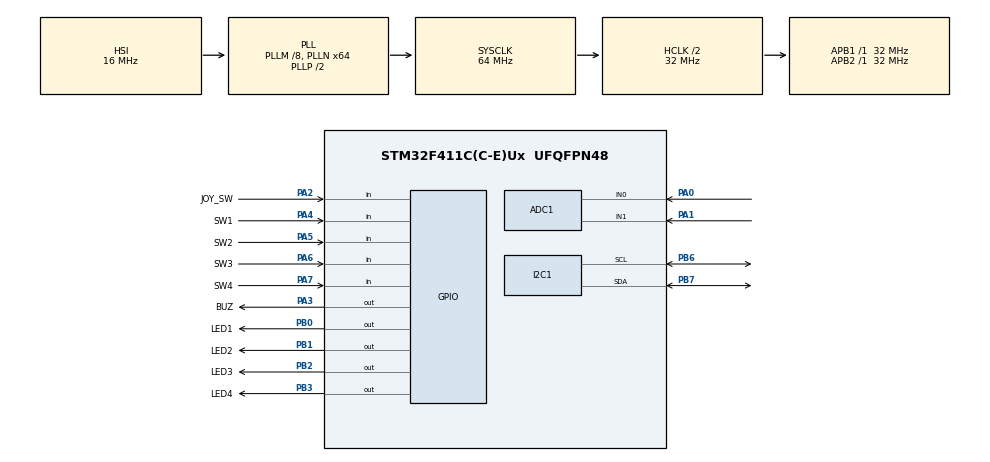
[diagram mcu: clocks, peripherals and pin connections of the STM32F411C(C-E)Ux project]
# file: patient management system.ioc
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ADC1.Channel-0\#ChannelRegularConversion=ADC_CHANNEL_0
ADC1.Channel-1\#ChannelRegularConversion=ADC_CHANNEL_1
ADC1.ContinuousConvMode=DISABLE
ADC1.DMAContinuousRequests=DISABLE
ADC1.DiscontinuousConvMode=ENABLE
ADC1.NbrOfConversion=2
ADC1.NbrOfConversionFlag=1
ADC1.Rank-0\#ChannelRegularConversion=1
ADC1.Rank-1\#ChannelRegularConversion=2
ADC1.SamplingTime-0\#ChannelRegularConversion=ADC_SAMPLETIME_56CYCLES
ADC1.SamplingTime-1\#ChannelRegularConversion=ADC_SAMPLETIME_56CYCLES
ADC1.ScanConvMode=ENABLE
ADC1.master=1
Dma.ADC1.0.Direction=DMA_PERIPH_TO_MEMORY
Dma.ADC1.0.FIFOMode=DMA_FIFOMODE_DISABLE
Dma.ADC1.0.Instance=DMA2_Stream0
Dma.ADC1.0.MemDataAlignment=DMA_MDATAALIGN_HALFWORD
Dma.ADC1.0.MemInc=DMA_MINC_ENABLE
Dma.ADC1.0.Mode=DMA_CIRCULAR
Dma.ADC1.0.PeriphDataAlignment=DMA_PDATAALIGN_HALFWORD
Dma.ADC1.0.PeriphInc=DMA_PINC_DISABLE
Dma.ADC1.0.Priority=DMA_PRIORITY_LOW
Dma.Request0=ADC1
I2C1.DutyCycle=I2C_DUTYCYCLE_16_9
I2C1.I2C_Mode=I2C_Fast
Mcu.Family=STM32F4
Mcu.Name=STM32F411C(C-E)Ux
Mcu.Package=UFQFPN48
NVIC.DMA2_Stream0_IRQn=true\:0\:0\:false\:false\:true\:false\:true\:true
NVIC.PriorityGroup=NVIC_PRIORITYGROUP_4
PA0-WKUP.Signal=ADCx_IN0
PA1.Signal=ADCx_IN1
PA13.Mode=Serial_Wire
PA13.Signal=SYS_JTMS-SWDIO
PA14.Mode=Serial_Wire
PA14.Signal=SYS_JTCK-SWCLK
PA2.GPIO_Label=JOY_SW
PA2.GPIO_PuPd=GPIO_PULLUP
PA2.Signal=GPIO_Input
PA3.GPIO_Label=BUZ
PA3.Signal=GPIO_Output
PA4.GPIO_Label=SW1
PA4.GPIO_PuPd=GPIO_NOPULL
PA4.Signal=GPIO_Input
PA5.GPIO_Label=SW2
PA5.GPIO_PuPd=GPIO_NOPULL
PA5.Signal=GPIO_Input
PA6.GPIO_Label=SW3
PA6.GPIO_PuPd=GPIO_NOPULL
PA6.Signal=GPIO_Input
PA7.GPIO_Label=SW4
PA7.GPIO_PuPd=GPIO_NOPULL
PA7.Signal=GPIO_Input
PB0.GPIO_Label=LED1
PB0.Signal=GPIO_Output
PB1.GPIO_Label=LED2
PB1.Signal=GPIO_Output
PB2.GPIO_Label=LED3
PB2.Signal=GPIO_Output
PB3.GPIO_Label=LED4
PB3.Signal=GPIO_Output
PB6.Mode=I2C
PB6.Signal=I2C1_SCL
PB7.Mode=I2C
PB7.Signal=I2C1_SDA
ProjectManager.HeapSize=0x200
ProjectManager.StackSize=0x400
ProjectManager.TargetToolchain=STM32CubeIDE
RCC.48MHZClocksFreq_Value=32000000
RCC.AHBCLKDivider=RCC_SYSCLK_DIV2
RCC.AHBFreq_Value=32000000
RCC.APB1Freq_Value=32000000
RCC.APB1TimFreq_Value=32000000
RCC.APB2Freq_Value=32000000
RCC.APB2TimFreq_Value=32000000
RCC.CortexFreq_Value=32000000
RCC.HCLKFreq_Value=32000000
RCC.HSE_VALUE=25000000
RCC.HSI_VALUE=16000000
RCC.LSE_VALUE=32768
RCC.PLLM=8
RCC.PLLN=64
RCC.SYSCLKFreq_VALUE=64000000
RCC.SYSCLKSource=RCC_SYSCLKSOURCE_PLLCLK
RCC.VCOOutputFreq_Value=128000000
SH.ADCx_IN0.0=ADC1_IN0,IN0
SH.ADCx_IN1.0=ADC1_IN1,IN1
board=custom

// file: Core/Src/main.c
/* USER CODE BEGIN Header */
/**
  ******************************************************************************
  * @file           : main.c
  * @brief          : Main program body
  ******************************************************************************
  * @attention
  *
  * Copyright (c) 2023 STMicroelectronics.
  * All rights reserved.
  *
  * This software is licensed under terms that can be found in the LICENSE file
  * in the root directory of this software component.
  * If no LICENSE file comes with this software, it is provided AS-IS.
  *
  ******************************************************************************
  */
/* USER CODE END Header */
#include "main.h"

/* USER CODE BEGIN Includes */
#include <stdio.h>

#include "main.h"

#include "ssd1306.h"
#include "fonts.h"

#include "DS3231.h"
/* USER CODE END Includes */

/* USER CODE BEGIN PD */
#define ADC_JOY_X (adc_value[1])
#define ADC_JOY_Y (adc_value[0])

#define JOY_R (ADC_JOY_X > 4000)
#define JOY_L (ADC_JOY_X < 300)
#define JOY_U (ADC_JOY_Y > 4000)
#define JOY_D (ADC_JOY_Y < 300)
#define JOY_P (!HAL_GPIO_ReadPin(JOY_SW_GPIO_Port, JOY_SW_Pin))
#define LED_101(n) (HAL_GPIO_WritePin(LED1_GPIO_Port, LED1_Pin, n))
#define LED_102(n) (HAL_GPIO_WritePin(LED2_GPIO_Port, LED2_Pin, n))
#define LED_103(n) (HAL_GPIO_WritePin(LED3_GPIO_Port, LED3_Pin, n))
#define LED_104(n) (HAL_GPIO_WritePin(LED4_GPIO_Port, LED4_Pin, n))
#define BUZ(x) (HAL_GPIO_WritePin(BUZ_GPIO_Port, BUZ_Pin, x))
/* USER CODE END PD */

ADC_HandleTypeDef hadc1;
DMA_HandleTypeDef hdma_adc1;

I2C_HandleTypeDef hi2c1;

/* USER CODE BEGIN PV */
uint16_t adc_value[2], cnt=0,joy, joy_delay1, joy_delay2;
uint8_t joystick,sys=0,init_block=0, use=1, room_sel=0, dis_sel=0, joy_old=0;

uint8_t time_C=0, Cursor=2 ,Cursor_H=2, Cursor_P=0, Cursor_R=0;

uint8_t md_max[4]={50,30,25,20}, md_now[4]={4,1,5,3};

char bf[30];
char *TIME[6]={"YEAR","MONTH","DAY","HOUR","MIN","SEC"};
char *PS[4]={"(Pain killer)","(Anti-inflam)","(IV)","(Fever remedy)"};
char *DISEASE[5]={"[unknown]", "[cold]","[flu]","[enteritis]","[high fever]"};
const char keyboard[4][12] = {
    "1234567890&",
    "QWERTYUOIP ",
    "ASDFGHJKL;*",
    "ZXCVBNM,.  "
};
char keyboard_mem[11];
char LASTDAY[13]={0,31,28,31,30,31,30,31,31,30,31,30,31};
uint8_t set_time[6]={0,1,1,0,0,0}, LED_status[4]={0};
enum date{
	year=0,month,day,hour,min,sec
};
enum joystick_enum{
	nomal=0,up,down,left,right
};
enum system_enum{
	init=0,time_set,main_menu,hospit,discharge,mm,pm,log,emergency_call
};
typedef struct
{
   char name[11];
   uint8_t Disease,Presc, store, use,time101,time102,time103,time104;
} Part;
Part pati_save[7];

/* USER CODE END PV */

void SystemClock_Config(void);
static void MX_GPIO_Init(void);
static void MX_DMA_Init(void);
static void MX_I2C1_Init(void);
static void MX_ADC1_Init(void);

/* USER CODE BEGIN 0 */
void HAL_IncTick(){
	uwTick += uwTickFreq;
	cnt++;
	if(sys==init && init_block < 11 && cnt % 200 == 0) init_block++;
	if(sys != time_set && sys != init && cnt % 1000 == 0){
	        set_time[5]++;
	        if(set_time[5]>59){
	        	set_time[5]=0;
	        	set_time[4]++;
	        	if(set_time[4]>59){
	        		set_time[4]=0;
	        		set_time[3]++;
	        		if(set_time[3]>23){
	        			set_time[3]=0;
	        			set_time[2]++;
	        		}
	        	}
	        }
	}

	if(cnt > 30000) joy_delay1 = joy_delay2 = cnt = 0;

	if(uwTick % 5 == 0){
		HAL_ADC_Start(&hadc1);
		HAL_ADC_PollForConversion(&hadc1, 10);
		adc_value[0] = HAL_ADC_GetValue(&hadc1);
		HAL_ADC_Start(&hadc1);
		HAL_ADC_PollForConversion(&hadc1, 10);
		adc_value[1] = HAL_ADC_GetValue(&hadc1);
		if(JOY_U)
			joystick = up;
		else if(JOY_D)
			joystick = down;
		else if(JOY_R)
			joystick = right;
		else if(JOY_L)
			joystick = left;
		else
			joystick = nomal;
	}

}
uint8_t joystick_sw(){//조이?��?�� ?���?????? ?��?��
   if(!HAL_GPIO_ReadPin(GPIOA, GPIO_PIN_2)){
      while(!HAL_GPIO_ReadPin(GPIOA, GPIO_PIN_2)) HAL_Delay(50);
      return 1;
   }
   return 0;
}

void PutsXY(int x, int y, char* str, int color){
   SSD1306_GotoXY(x*6, y*8);
   SSD1306_Puts(str, &Font_6x8, color);
}
void ud_joystick(uint8_t *sel, uint16_t max, uint8_t rotate, uint8_t min, uint8_t sort){
   if(joystick){
	if(joy_old==RESET){
        if(sort){
           if(*sel < max+min && joystick == up)
              *sel += 1;
           else if(*sel > min && joystick == down)
              *sel -= 1;
           else if(*sel == max+min && joystick == up && rotate)
              *sel = min;
           else if(*sel == 0 && joystick == down && rotate)
              *sel = max;
        }
        else{
           if(*sel > min && joystick == up)
              *sel -= 1;
           else if(*sel < max+min && joystick == down)
              *sel += 1;
           else if(*sel == 0 && joystick == up && rotate)
              *sel = max;
           else if(*sel == max+min && joystick == down && rotate)
              *sel = min;
        }
        joy_delay1 = cnt;
	}
	else if(cnt - joy_delay1 > 200){
         if(sort){
            if(*sel < max+min && joystick == up)
               *sel += 1;
            else if(*sel > min && joystick == down)
               *sel -= 1;
            else if(*sel == max+min && joystick == up && rotate)
               *sel = min;
            else if(*sel == 0 && joystick == down && rotate)
               *sel = max;
         }
         else{
            if(*sel > min && joystick == up)
               *sel -= 1;
            else if(*sel < max+min && joystick == down)
               *sel += 1;
            else if(*sel == 0 && joystick == up && rotate)
               *sel = max;
            else if(*sel == max+min && joystick == down && rotate)
               *sel = min;
         }
         joy_delay1 = cnt;
      }
   }
   joy_old = joystick;
}

void rl_joystick(uint8_t *les, uint8_t max, uint8_t rotate, uint8_t min, uint8_t sort){
	if(joystick){
		if(joy_old==RESET){
			if(sort){
				if(*les < max+min && joystick == right)
				*les += 1;
				else if(*les > min && joystick == left)
				*les -= 1;
				else if(*les == max+min && joystick == right && rotate)
				*les = min;
				else if(*les == 0 && joystick == left && rotate)
				*les = max;
			}
			else{
				if(*les > min && joystick == right)
				*les -= 1;
				else if(*les < max+min && joystick == left)
				*les += 1;
				else if(*les == 0 && joystick == right && rotate)
				*les = max;
				else if(*les == max+min && joystick == left && rotate)
				*les = min;
			}
			joy_delay2 = cnt;
		}
		else if(cnt - joy_delay2 > 200){
			if(sort){
				if(*les < max+min && joystick == right)
				*les += 1;
				else if(*les > min && joystick == left)
				*les -= 1;
				else if(*les == max+min && joystick == right && rotate)
				*les = min;
				else if(*les == 0 && joystick == left && rotate)
				*les = max;
			}
			else{
				if(*les > min && joystick == right)
				*les -= 1;
				else if(*les < max+min && joystick == left)
				*les += 1;
				else if(*les == 0 && joystick == right && rotate)
				*les = max;
				else if(*les == max+min && joystick == left && rotate)
				*les = min;
			}
			joy_delay2 = cnt;
		}
	}
	joy_old = joystick;
}
void pati_save_(){
	strcat(pati_save[room_sel].name, keyboard_mem);
	pati_save[room_sel].Disease = dis_sel;
	pati_save[room_sel].Presc = Cursor_P;
	pati_save[room_sel].store = md_now[Cursor_P];
	pati_save[room_sel].use = use;
	if(room_sel==1){
		for(int i=0; i<6; i++){
			pati_save[i].time101 = set_time[i];
		}
	}
	if(room_sel==2){
		for(int i=0; i<6; i++){
			pati_save[i].time104 = set_time[i];
		}
	}
	if(room_sel==3){
		for(int i=0; i<6; i++){
			pati_save[i].time104 = set_time[i];
		}
	}
	if(room_sel==4){
		for(int i=0; i<6; i++){
			pati_save[i].time104 = set_time[i];
		}
	}

}
void KEYBOARD(){
	for(int j = 0; j < 12; j++){
		keyboard_mem[j]=0;
	}
	while(1){
		static uint8_t updown_sel = 0, line_sel, count = 0;
		SSD1306_Fill(0);
		PutsXY(0, 0, "#KEYBOARD                ", 0);
		PutsXY(0, 1, ">", 1);
		PutsXY(1+count, 2, "^", 1);
	    PutsXY(1, 1, keyboard_mem, 1);
	    for(int i = 0; i < 4; i++){
	       for(int j = 0; j < 11; j++){
	          sprintf(bf, "%c", keyboard[i][j]);
	          SSD1306_GotoXY((j+2) * 6 + (j*4), (i+4) * 8);
	          if(i == updown_sel && j == line_sel)
	             SSD1306_Puts(bf, &Font_6x8, 0);
	          else
	             SSD1306_Puts(bf, &Font_6x8, 1);
	       }
	    }
	    SSD1306_UpdateScreen();

	    ud_joystick(&updown_sel, 3, 1, 0, 0);
	    if(updown_sel % 2 == 0)
	            rl_joystick(&line_sel, 10, 1, 0, 0);//0,2번째 �??? 10칸까�???
	         else
	            rl_joystick(&line_sel, 9, 1, 0, 0);//1,3번�?? �??? 9칸까�??? 커서

	    if(joystick_sw()){
	         if(line_sel == 10){
	            if(updown_sel == 0){
	               if(count > 0){
	                  count--;
	                  keyboard_mem[count] = 0;
	               }
	            }
	            else if(updown_sel == 2){
	               updown_sel = 0;
	               line_sel = 0;
	               count = 0;
	               return;
	            }
	         }
	         else {
	            if(count < 10){
	               keyboard_mem[count] = keyboard[updown_sel][line_sel];
	               count++;
	            }
	         }
	      }
	      if(count >= 10){
	         updown_sel = 0;
	         line_sel = 0;
	         count = 0;
	         return;
	      }
	}
}

void Init(){
	SSD1306_Fill(0);
	PutsXY(2, 3,"Patient Management", 1);
	PutsXY(8, 4,"system", 1);
	SSD1306_GotoXY(2*6, 2*8+init_block-3);
	SSD1306_Puts("                  ", &Font_6x8, 1);
	SSD1306_GotoXY(2*6, 5*8-init_block+2);
	SSD1306_Puts("                  ", &Font_6x8, 1);
	SSD1306_UpdateScreen();
	if(init_block==11){
		HAL_Delay(300);
		PutsXY(8, 3,"Welcome", 1);
		SSD1306_UpdateScreen();
		HAL_Delay(2000);
		//////////////////////////////////////////eeprom set(first run)//////////////////////////////////////////
		sys=time_set;
	}
}
void Time_set(){
	SSD1306_Fill(0);
	PutsXY(0, 0, "#TIME SETTING             ", 0);
	PutsXY(0, 3, "RTC Time Setting", 1);
	sprintf(bf, "%s=%d",TIME[time_C],time_C==0 ? set_time[time_C] + 2000 : set_time[time_C]);
	SSD1306_GotoXY(0, 5*8);
	SSD1306_Puts(bf, &Font_6x8, 1);
	if(joystick_sw()){
		DS3231_set_date(set_time[2], set_time[1], set_time[0]);
		DS3231_set_time(set_time[5], set_time[4], set_time[3]);
		DS3231_get_time(&set_time[5], &set_time[4], &set_time[3]);
		DS3231_get_date(&set_time[2], &set_time[1], &set_time[0]);
		for(int i=0; i<6; i++) set_time[i]=set_time[i];
		sys = main_menu;
	}
	rl_joystick(&time_C, 5, 0, 0, 0);

	if(time_C==year)
		ud_joystick(&set_time[time_C], 99, 0, 0, 1);
	if(time_C==month)
		ud_joystick(&set_time[time_C], 11, 0, 1, 1);
	if(time_C==day){
		if(set_time[time_C]>LASTDAY[set_time[month]]) set_time[time_C]=LASTDAY[set_time[month]]; //if value over -> max value
		ud_joystick(&set_time[time_C], LASTDAY[set_time[month]]-1, 0, 1, 1);
	}
	if(time_C==hour)
		ud_joystick(&set_time[time_C], 23, 0, 0, 1);
	if(time_C==min)
		ud_joystick(&set_time[time_C], 23, 0, 0, 1);
	if(time_C==sec)
		ud_joystick(&set_time[time_C], 59, 0, 0, 1);

	SSD1306_UpdateScreen();
}
void Main_menu(){
	SSD1306_Fill(0);
	PutsXY(0, 0, "#main menu            ", 0);
	PutsXY(1, 2, "pati Hospit", 1);
	PutsXY(1, 3, "Discharge", 1);
	PutsXY(1, 4, "MM", 1);
	PutsXY(1, 5, "PM", 1);
	PutsXY(1, 6, "Log", 1);
	sprintf(bf, "20%02d.%02d.%02d", set_time[0], set_time[1], set_time[2]);
	PutsXY(11, 4, bf, 1);
	sprintf(bf, "%02d:%02d:%02d", set_time[3], set_time[4], set_time[5]);
	PutsXY(13, 5, bf, 1);
	ud_joystick(&Cursor, 4, 0, 2, 0);
	PutsXY(0, Cursor, ">", 1);
	SSD1306_UpdateScreen();
	if(joystick_sw()){
		sys = Cursor+1; //////emergency call 만들 ?�� 조건 걸어줘야 ?�� ///////////////////
	}

}
void Hospit(){
	SSD1306_Fill(0);
	PutsXY(0, 0, "#Patient Hospit             ", 0);
	PutsXY(1, 2, "Disease:", 1);
	if(keyboard_mem[0] == 0)
		PutsXY(1, 3, "Name:(NONE)", 1);
	else{
		PutsXY(1, 3, "Name:", 1);
		PutsXY(6, 3, keyboard_mem, 1);
	}
	PutsXY(1, 4, "Presc:", 1);
	PutsXY(1, 5, "Store:", 1);
	PutsXY(1, 6, "Hospit room:", 1);
	PutsXY(1, 7, "Enter", 1);
	SSD1306_GotoXY(7*6, 4*8);
	SSD1306_Puts(PS[Cursor_P], &Font_6x8, 1);
	SSD1306_GotoXY(7*6, 5*8);
	sprintf(bf ,"(%d/%d)",md_now[Cursor_P],md_max[Cursor_P]);
	SSD1306_Puts(bf, &Font_6x8, 1);
	sprintf(bf,"USE:%d",use);
	SSD1306_GotoXY(14*6, 5*8);
	SSD1306_Puts(bf, &Font_6x8, 1);
	ud_joystick(&Cursor_H, 5, 0, 2, 0);
	PutsXY(0, Cursor_H, ">", 1);
	PutsXY(9, 2, DISEASE[dis_sel], 1);
	sprintf(bf,"<10%d>",room_sel);
	SSD1306_GotoXY(13*6, 6*8);
	SSD1306_Puts(bf, &Font_6x8, 1);
	if(room_sel==0){
		PutsXY(13, 6, "<non>", 1);
	}else{
		sprintf(bf,"<10%d>",room_sel);
		SSD1306_GotoXY(13*6, 6*8);
		SSD1306_Puts(bf, &Font_6x8, 1);
	}
	if(Cursor_H == 2){
		rl_joystick(&dis_sel, 4, 0, 0, 0);
	}else if(Cursor_H == 4){
		rl_joystick(&Cursor_P, 3, 0, 0, 0);
		if(md_now[Cursor_P]<use) use=md_now[Cursor_P];
	}else if(Cursor_H == 5){
		rl_joystick(&use, md_now[Cursor_P]-1, 0, 1, 0);
	}else if(Cursor_H == 6){
		rl_joystick(&room_sel, 4, 0, 0, 0);
	}
	SSD1306_UpdateScreen();
	if(room_sel==0)
		LED_101(0);
	if(room_sel==1){
		LED_101(1);
		LED_102(0);
	}
	if(room_sel==2){
		LED_102(1);
		LED_101(0);
		LED_103(0);
	}
	if(room_sel==3){
		LED_103(1);
		LED_102(0);
		LED_104(0);
	}
	if(room_sel==4){
		LED_104(1);
		LED_103(0);
	}
	for(int i=1; i<5; i++){
		if(LED_status[i]==1){
			if(i==1)
				LED_101(1);
			if(i==2)
				LED_102(1);
			if(i==3)
				LED_103(1);
			if(i==4)
				LED_104(1);
		}
	}

	if(joystick_sw()){
		if(Cursor_H==3) KEYBOARD();
		else if(Cursor_H==7){
			if(room_sel==0){
				//log
			}else if(room_sel==1){
				pati_save_();
			}else if(room_sel==2){
				pati_save_();
			}else if(room_sel==3){
				pati_save_();
			}else if(room_sel==4){
				pati_save_();
			}
			//variable reset//
			Cursor_H=2;
			LED_status[room_sel]=1;
			Cursor_P=use=dis_sel=room_sel=0;
			sys = main_menu;
		}
	}
}

void Discharge(){
	SSD1306_Fill(0);
	PutsXY(0, 0, "#Discharge              ", 0);
	PutsXY(0, 2, "Hospit room:10", 1);

	ud_joystick(&Cursor_H, 5, 0, 2, 0);
	PutsXY(0, Cursor_H, ">", 1);
	if(Cursor_H==2)
		rl_joystick(&room_sel, 4, 0, 1, 0);

	SSD1306_UpdateScreen();
}
void Medicine_manage(){
	SSD1306_Fill(0);
	PutsXY(0, 0, "#Medicine manage          ", 0);
	PutsXY(0, 2, " ", 1);
	SSD1306_UpdateScreen();
}
void Prescription_manage(){
	SSD1306_Fill(0);
	PutsXY(0, 0, "#Prescription manage         ", 0);

	SSD1306_UpdateScreen();
}
void Log(){
	SSD1306_Fill(0);
	PutsXY(0, 0, "#Log                    ", 0);

	SSD1306_UpdateScreen();
}
void Emergency_call(){

}
/* USER CODE END 0 */

int main(void)
{

  /* MCU Configuration--------------------------------------------------------*/

  /* Reset of all peripherals, Initializes the Flash interface and the Systick. */
  HAL_Init();

  /* Configure the system clock */
  SystemClock_Config();

  /* Initialize all configured peripherals */
  MX_GPIO_Init();
  MX_DMA_Init();
  MX_I2C1_Init();
  MX_ADC1_Init();
  /* USER CODE BEGIN 2 */
  SSD1306_Init();

  /* USER CODE END 2 */

  /* Infinite loop */
  /* USER CODE BEGIN WHILE */
  while (1)
  {
	    sys == init ? Init()
	  : sys == time_set ? Time_set()
	  : sys == main_menu ? Main_menu()
	  : sys == hospit ? Hospit()
	  : sys == discharge ? Discharge()
	  : sys == mm ? Medicine_manage()
	  : sys == pm ? Prescription_manage()
	  : sys == log? Log()
	  : Emergency_call();
    /* USER CODE END WHILE */

  }
}

void SystemClock_Config(void)
{
  RCC_OscInitTypeDef RCC_OscInitStruct = {0};
  RCC_ClkInitTypeDef RCC_ClkInitStruct = {0};

  /** Configure the main internal regulator output voltage
  */
  __HAL_RCC_PWR_CLK_ENABLE();
  __HAL_PWR_VOLTAGESCALING_CONFIG(PWR_REGULATOR_VOLTAGE_SCALE1);

  /** Initializes the RCC Oscillators according to the specified parameters
  * in the RCC_OscInitTypeDef structure.
  */
  RCC_OscInitStruct.OscillatorType = RCC_OSCILLATORTYPE_HSI;
  RCC_OscInitStruct.HSIState = RCC_HSI_ON;
  RCC_OscInitStruct.HSICalibrationValue = RCC_HSICALIBRATION_DEFAULT;
  RCC_OscInitStruct.PLL.PLLState = RCC_PLL_ON;
  RCC_OscInitStruct.PLL.PLLSource = RCC_PLLSOURCE_HSI;
  RCC_OscInitStruct.PLL.PLLM = 8;
  RCC_OscInitStruct.PLL.PLLN = 64;
  RCC_OscInitStruct.PLL.PLLP = RCC_PLLP_DIV2;
  RCC_OscInitStruct.PLL.PLLQ = 4;
  if (HAL_RCC_OscConfig(&RCC_OscInitStruct) != HAL_OK)
  {
    Error_Handler();
  }

  /** Initializes the CPU, AHB and APB buses clocks
  */
  RCC_ClkInitStruct.ClockType = RCC_CLOCKTYPE_HCLK|RCC_CLOCKTYPE_SYSCLK
                              |RCC_CLOCKTYPE_PCLK1|RCC_CLOCKTYPE_PCLK2;
  RCC_ClkInitStruct.SYSCLKSource = RCC_SYSCLKSOURCE_PLLCLK;
  RCC_ClkInitStruct.AHBCLKDivider = RCC_SYSCLK_DIV2;
  RCC_ClkInitStruct.APB1CLKDivider = RCC_HCLK_DIV1;
  RCC_ClkInitStruct.APB2CLKDivider = RCC_HCLK_DIV1;

  if (HAL_RCC_ClockConfig(&RCC_ClkInitStruct, FLASH_LATENCY_1) != HAL_OK)
  {
    Error_Handler();
  }
}

static void MX_ADC1_Init(void)
{

  ADC_ChannelConfTypeDef sConfig = {0};

  /** Configure the global features of the ADC (Clock, Resolution, Data Alignment and number of conversion)
  */
  hadc1.Instance = ADC1;
  hadc1.Init.ClockPrescaler = ADC_CLOCK_SYNC_PCLK_DIV2;
  hadc1.Init.Resolution = ADC_RESOLUTION_12B;
  hadc1.Init.ScanConvMode = ENABLE;
  hadc1.Init.ContinuousConvMode = DISABLE;
  hadc1.Init.DiscontinuousConvMode = ENABLE;
  hadc1.Init.NbrOfDiscConversion = 1;
  hadc1.Init.ExternalTrigConvEdge = ADC_EXTERNALTRIGCONVEDGE_NONE;
  hadc1.Init.ExternalTrigConv = ADC_SOFTWARE_START;
  hadc1.Init.DataAlign = ADC_DATAALIGN_RIGHT;
  hadc1.Init.NbrOfConversion = 2;
  hadc1.Init.DMAContinuousRequests = DISABLE;
  hadc1.Init.EOCSelection = ADC_EOC_SINGLE_CONV;
  if (HAL_ADC_Init(&hadc1) != HAL_OK)
  {
    Error_Handler();
  }

  /** Configure for the selected ADC regular channel its corresponding rank in the sequencer and its sample time.
  */
  sConfig.Channel = ADC_CHANNEL_0;
  sConfig.Rank = 1;
  sConfig.SamplingTime = ADC_SAMPLETIME_56CYCLES;
  if (HAL_ADC_ConfigChannel(&hadc1, &sConfig) != HAL_OK)
  {
    Error_Handler();
  }

  /** Configure for the selected ADC regular channel its corresponding rank in the sequencer and its sample time.
  */
  sConfig.Channel = ADC_CHANNEL_1;
  sConfig.Rank = 2;
  if (HAL_ADC_ConfigChannel(&hadc1, &sConfig) != HAL_OK)
  {
    Error_Handler();
  }

}

static void MX_I2C1_Init(void)
{

  hi2c1.Instance = I2C1;
  hi2c1.Init.ClockSpeed = 400000;
  hi2c1.Init.DutyCycle = I2C_DUTYCYCLE_16_9;
  hi2c1.Init.OwnAddress1 = 0;
  hi2c1.Init.AddressingMode = I2C_ADDRESSINGMODE_7BIT;
  hi2c1.Init.DualAddressMode = I2C_DUALADDRESS_DISABLE;
  hi2c1.Init.OwnAddress2 = 0;
  hi2c1.Init.GeneralCallMode = I2C_GENERALCALL_DISABLE;
  hi2c1.Init.NoStretchMode = I2C_NOSTRETCH_DISABLE;
  if (HAL_I2C_Init(&hi2c1) != HAL_OK)
  {
    Error_Handler();
  }

}

static void MX_DMA_Init(void)
{

  /* DMA controller clock enable */
  __HAL_RCC_DMA2_CLK_ENABLE();

  /* DMA interrupt init */
  /* DMA2_Stream0_IRQn interrupt configuration */
  HAL_NVIC_SetPriority(DMA2_Stream0_IRQn, 0, 0);
  HAL_NVIC_EnableIRQ(DMA2_Stream0_IRQn);

}

static void MX_GPIO_Init(void)
{
  GPIO_InitTypeDef GPIO_InitStruct = {0};

  /* GPIO Ports Clock Enable */
  __HAL_RCC_GPIOA_CLK_ENABLE();
  __HAL_RCC_GPIOB_CLK_ENABLE();

  /*Configure GPIO pin Output Level */
  HAL_GPIO_WritePin(BUZ_GPIO_Port, BUZ_Pin, GPIO_PIN_RESET);

  /*Configure GPIO pin Output Level */
  HAL_GPIO_WritePin(GPIOB, LED1_Pin|LED2_Pin|LED3_Pin|LED4_Pin, GPIO_PIN_RESET);

  /*Configure GPIO pin : JOY_SW_Pin */
  GPIO_InitStruct.Pin = JOY_SW_Pin;
  GPIO_InitStruct.Mode = GPIO_MODE_INPUT;
  GPIO_InitStruct.Pull = GPIO_PULLUP;
  HAL_GPIO_Init(JOY_SW_GPIO_Port, &GPIO_InitStruct);

  /*Configure GPIO pin : BUZ_Pin */
  GPIO_InitStruct.Pin = BUZ_Pin;
  GPIO_InitStruct.Mode = GPIO_MODE_OUTPUT_PP;
  GPIO_InitStruct.Pull = GPIO_NOPULL;
  GPIO_InitStruct.Speed = GPIO_SPEED_FREQ_LOW;
  HAL_GPIO_Init(BUZ_GPIO_Port, &GPIO_InitStruct);

  /*Configure GPIO pins : SW1_Pin SW2_Pin SW3_Pin SW4_Pin */
  GPIO_InitStruct.Pin = SW1_Pin|SW2_Pin|SW3_Pin|SW4_Pin;
  GPIO_InitStruct.Mode = GPIO_MODE_INPUT;
  GPIO_InitStruct.Pull = GPIO_NOPULL;
  HAL_GPIO_Init(GPIOA, &GPIO_InitStruct);

  /*Configure GPIO pins : LED1_Pin LED2_Pin LED3_Pin LED4_Pin */
  GPIO_InitStruct.Pin = LED1_Pin|LED2_Pin|LED3_Pin|LED4_Pin;
  GPIO_InitStruct.Mode = GPIO_MODE_OUTPUT_PP;
  GPIO_InitStruct.Pull = GPIO_NOPULL;
  GPIO_InitStruct.Speed = GPIO_SPEED_FREQ_LOW;
  HAL_GPIO_Init(GPIOB, &GPIO_InitStruct);

}

void Error_Handler(void)
{
  __disable_irq();
  while (1)
  {
  }
}
